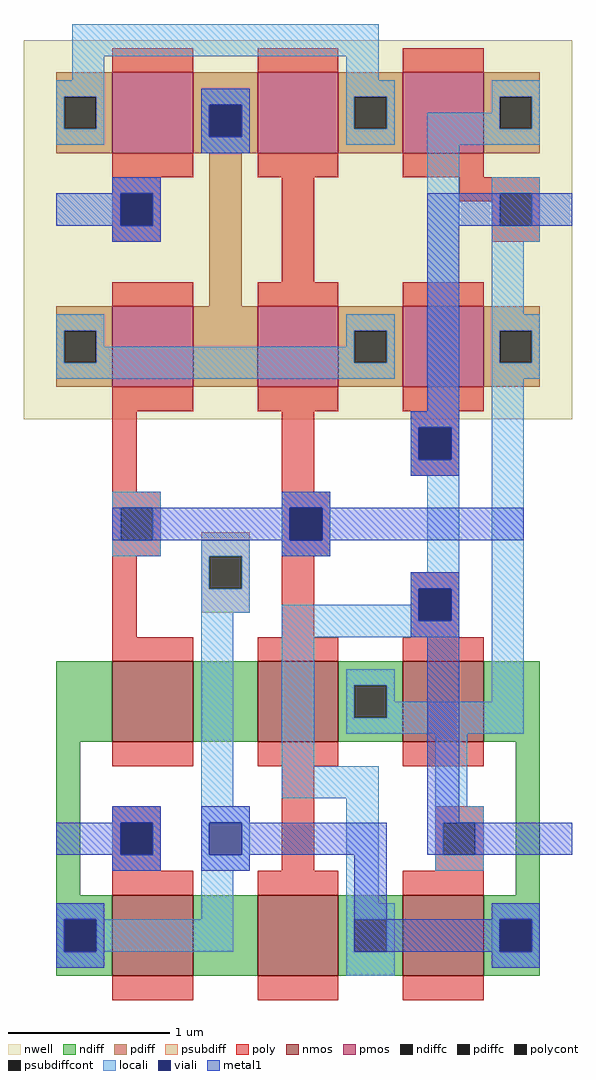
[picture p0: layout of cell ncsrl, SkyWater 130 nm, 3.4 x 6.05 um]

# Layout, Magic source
magic
tech sky130A
<< nwell >>
rect -255 205 85 440
<< nmos >>
rect -200 5 -150 55
rect -110 5 -60 55
rect -20 5 30 55
rect -200 -140 -150 -90
rect -110 -140 -60 -90
rect -20 -140 30 -90
<< pmos >>
rect -200 370 -150 420
rect -110 370 -60 420
rect -20 370 30 420
rect -200 225 -150 275
rect -110 225 -60 275
rect -20 225 30 275
<< ndiff >>
rect -235 5 -200 55
rect -150 5 -110 55
rect -60 40 -20 55
rect -60 20 -50 40
rect -30 20 -20 40
rect -60 5 -20 20
rect 30 5 65 55
rect -235 -90 -220 5
rect 50 -90 65 5
rect -235 -105 -200 -90
rect -235 -125 -230 -105
rect -210 -125 -200 -105
rect -235 -140 -200 -125
rect -150 -140 -110 -90
rect -60 -105 -20 -90
rect -60 -125 -50 -105
rect -30 -125 -20 -105
rect -60 -140 -20 -125
rect 30 -105 65 -90
rect 30 -125 40 -105
rect 60 -125 65 -105
rect 30 -140 65 -125
<< pdiff >>
rect -235 405 -200 420
rect -235 385 -230 405
rect -210 385 -200 405
rect -235 370 -200 385
rect -150 400 -110 420
rect -150 380 -140 400
rect -120 380 -110 400
rect -150 370 -110 380
rect -60 405 -20 420
rect -60 385 -50 405
rect -30 385 -20 405
rect -60 370 -20 385
rect 30 405 65 420
rect 30 385 40 405
rect 60 385 65 405
rect 30 370 65 385
rect -140 275 -120 370
rect -235 260 -200 275
rect -235 240 -230 260
rect -210 240 -200 260
rect -235 225 -200 240
rect -150 225 -110 275
rect -60 260 -20 275
rect -60 240 -50 260
rect -30 240 -20 260
rect -60 225 -20 240
rect 30 260 65 275
rect 30 240 40 260
rect 60 240 65 260
rect 30 225 65 240
<< ndiffc >>
rect -50 20 -30 40
rect -230 -125 -210 -105
rect -50 -125 -30 -105
rect 40 -125 60 -105
<< pdiffc >>
rect -230 385 -210 405
rect -140 380 -120 400
rect -50 385 -30 405
rect 40 385 60 405
rect -230 240 -210 260
rect -50 240 -30 260
rect 40 240 60 260
<< psubdiff >>
rect -145 120 -115 135
rect -145 100 -140 120
rect -120 100 -115 120
rect -145 85 -115 100
<< psubdiffcont >>
rect -140 100 -120 120
<< poly >>
rect -200 420 -150 435
rect -110 420 -60 435
rect -20 420 30 435
rect -200 355 -150 370
rect -200 345 -170 355
rect -200 325 -195 345
rect -175 325 -170 345
rect -200 315 -170 325
rect -200 275 -150 290
rect -110 355 -60 370
rect -20 355 30 370
rect -95 290 -75 355
rect 15 345 65 355
rect 15 340 40 345
rect 35 325 40 340
rect 60 325 65 345
rect 35 315 65 325
rect -110 275 -60 290
rect -20 275 30 290
rect -200 210 -150 225
rect -110 210 -60 225
rect -20 210 30 225
rect -200 160 -185 210
rect -95 160 -75 210
rect -15 200 15 210
rect -15 180 -10 200
rect 10 180 15 200
rect -15 170 15 180
rect -200 150 -170 160
rect -200 130 -195 150
rect -175 130 -170 150
rect -95 150 -65 160
rect -200 120 -170 130
rect -200 70 -185 120
rect -95 130 -90 150
rect -70 130 -65 150
rect -95 120 -65 130
rect -95 70 -75 120
rect -15 100 15 110
rect -15 80 -10 100
rect 10 80 15 100
rect -15 70 15 80
rect -200 55 -150 70
rect -110 55 -60 70
rect -20 55 30 70
rect -200 -10 -150 5
rect -110 -10 -60 5
rect -20 -10 30 5
rect -200 -45 -170 -35
rect -200 -65 -195 -45
rect -175 -65 -170 -45
rect -200 -75 -170 -65
rect -95 -75 -75 -10
rect 0 -45 30 -35
rect 0 -65 5 -45
rect 25 -65 30 -45
rect 0 -75 30 -65
rect -200 -90 -150 -75
rect -110 -90 -60 -75
rect -20 -90 30 -75
rect -200 -155 -150 -140
rect -110 -155 -60 -140
rect -20 -155 30 -140
<< polycont >>
rect -195 325 -175 345
rect 40 325 60 345
rect -10 180 10 200
rect -195 130 -175 150
rect -90 130 -70 150
rect -10 80 10 100
rect -195 -65 -175 -45
rect 5 -65 25 -45
<< locali >>
rect -225 430 -35 450
rect -225 415 -205 430
rect -235 405 -205 415
rect -55 415 -35 430
rect -235 385 -230 405
rect -210 385 -205 405
rect -235 375 -205 385
rect -145 400 -115 410
rect -145 380 -140 400
rect -120 380 -115 400
rect -145 370 -115 380
rect -55 405 -25 415
rect -55 385 -50 405
rect -30 385 -25 405
rect 35 405 65 415
rect 35 395 40 405
rect -55 375 -25 385
rect -5 385 40 395
rect 60 385 65 405
rect -5 375 65 385
rect -200 345 -170 355
rect -200 325 -195 345
rect -175 325 -170 345
rect -200 315 -170 325
rect -235 260 -205 270
rect -235 240 -230 260
rect -210 250 -205 260
rect -55 260 -25 270
rect -55 250 -50 260
rect -210 240 -50 250
rect -30 240 -25 260
rect -235 230 -25 240
rect -5 210 15 375
rect -15 200 15 210
rect -15 180 -10 200
rect 10 180 15 200
rect -15 170 15 180
rect -200 150 -170 160
rect -200 130 -195 150
rect -175 130 -170 150
rect -95 150 -65 160
rect -95 130 -90 150
rect -70 130 -65 150
rect -200 120 -170 130
rect -145 120 -115 130
rect -95 120 -65 130
rect -145 100 -140 120
rect -120 100 -115 120
rect -5 110 15 170
rect -145 85 -115 100
rect -15 100 15 110
rect -15 90 -10 100
rect -145 -35 -125 85
rect -95 80 -10 90
rect 10 80 15 100
rect -95 70 15 80
rect 35 345 65 355
rect 35 325 40 345
rect 60 325 65 345
rect 35 315 65 325
rect 35 270 55 315
rect 35 260 65 270
rect 35 240 40 260
rect 60 240 65 260
rect 35 230 65 240
rect -95 -10 -75 70
rect -55 40 -25 50
rect -55 20 -50 40
rect -30 30 -25 40
rect 35 30 55 230
rect -30 20 55 30
rect -55 10 55 20
rect -95 -30 -35 -10
rect -200 -45 -170 -35
rect -200 -65 -195 -45
rect -175 -65 -170 -45
rect -200 -75 -170 -65
rect -145 -45 -115 -35
rect -145 -65 -140 -45
rect -120 -65 -115 -45
rect -145 -75 -115 -65
rect -235 -105 -205 -95
rect -145 -105 -125 -75
rect -235 -125 -230 -105
rect -210 -125 -125 -105
rect -55 -95 -35 -30
rect 0 -35 20 10
rect 0 -45 30 -35
rect 0 -65 5 -45
rect 25 -65 30 -45
rect 0 -75 30 -65
rect -55 -105 -25 -95
rect -55 -125 -50 -105
rect -30 -125 -25 -105
rect -235 -135 -205 -125
rect -55 -140 -25 -125
rect 35 -105 65 -95
rect 35 -125 40 -105
rect 60 -125 65 -105
rect 35 -135 65 -125
<< viali >>
rect -140 380 -120 400
rect -195 325 -175 345
rect -10 180 10 200
rect -90 130 -70 150
rect -10 80 10 100
rect -195 -65 -175 -45
rect -140 -65 -120 -45
rect -230 -125 -210 -105
rect 40 -125 60 -105
<< metal1 >>
rect -145 400 -115 410
rect -145 380 -140 400
rect -120 380 -115 400
rect -145 370 -115 380
rect -200 345 -170 355
rect -235 325 -195 345
rect -175 325 -170 345
rect -200 315 -170 325
rect -5 325 85 345
rect -5 210 15 325
rect -15 200 15 210
rect -15 180 -10 200
rect 10 180 15 200
rect -15 170 15 180
rect -95 150 -65 160
rect -200 130 -90 150
rect -70 130 55 150
rect -95 120 -65 130
rect -15 100 15 110
rect -15 80 -10 100
rect 10 80 15 100
rect -15 70 15 80
rect -200 -45 -170 -35
rect -235 -65 -195 -45
rect -175 -65 -170 -45
rect -200 -75 -170 -65
rect -145 -45 -115 -35
rect -5 -45 15 70
rect -145 -65 -140 -45
rect -120 -65 -30 -45
rect -5 -65 85 -45
rect -145 -75 -115 -65
rect -235 -105 -205 -95
rect -235 -125 -230 -105
rect -210 -125 -205 -105
rect -50 -105 -30 -65
rect 35 -105 65 -95
rect -50 -125 40 -105
rect 60 -125 65 -105
rect -235 -135 -205 -125
rect 35 -135 65 -125
<< end >>
